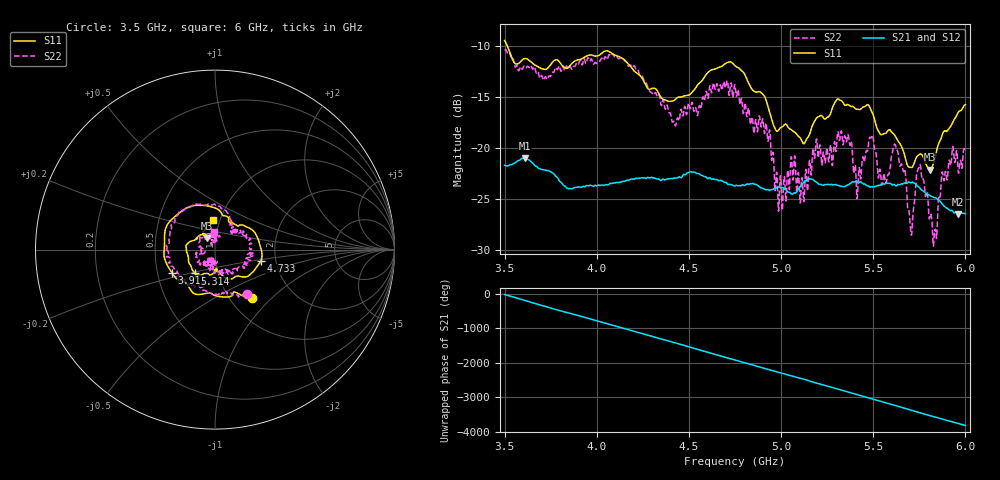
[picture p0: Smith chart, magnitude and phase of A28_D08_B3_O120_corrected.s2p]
! Created with skrf 1.9.0 (http://scikit-rf.org).
# Hz S RI R 50.0
!freq ReS11 ImS11 ReS21 ImS21 ReS12 ImS12 ReS22 ImS22
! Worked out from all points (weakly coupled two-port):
!   1601 points, 3.5 GHz to 6 GHz, reference 50 ohm
!   highest |S21| = -20.97 dB at 3.609 GHz (marker M1); lowest = -26.5 dB at 5.959 GHz (marker M2)
!   lowest |S11| = -22.1 dB at 5.806 GHz (marker M3), VSWR 1.17, Z = 45.2 + j5.67 ohm
!   |S11| at or under -10 dB: 3.515 GHz to end of sweep
!   |S22| runs from -29.6 to -10.3 dB; largest |S21 - S12| = 0.0011
!   S11 on the Smith chart (normalised r, x): 3.5 GHz: 1.26, -0.76; 3.911 GHz: 0.60, -0.17; 4.733 GHz: 1.66, -0.23; 5.314 GHz: 0.77, -0.21; 6 GHz: 0.93, +0.31
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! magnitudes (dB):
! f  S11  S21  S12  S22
! 3.5 GHz  -9.4  -21.7  -21.7  -10.4
! 3.609 GHz  -11.2  -21.0  -21.0  -12.0
! 3.911 GHz  -11.3  -23.8  -23.8  -11.4
! 3.917 GHz  -11.3  -23.9  -23.8  -11.7
! 4.334 GHz  -14.6  -23.0  -23.0  -14.8
! 4.733 GHz  -11.6  -23.6  -23.6  -14.1
! 4.75 GHz  -11.9  -23.7  -23.6  -13.8
! 4.928 GHz  -15.9  -24.1  -24.1  -19.3
! 4.995 GHz  -18.0  -23.9  -23.8  -22.8
! 5.167 GHz  -17.9  -23.1  -23.0  -21.7
! 5.314 GHz  -15.2  -23.7  -23.7  -19.0
! 5.419 GHz  -16.2  -23.4  -23.4  -23.1
! 5.489 GHz  -16.3  -23.8  -23.8  -19.0
! 5.584 GHz  -18.2  -23.5  -23.4  -22.6
! 5.623 GHz  -18.9  -23.7  -23.7  -19.9
! 5.705 GHz  -21.9  -23.4  -23.4  -28.4
! 5.75 GHz  -20.6  -23.9  -23.8  -21.9
! 5.806 GHz  -22.1  -24.7  -24.6  -26.8
! 5.834 GHz  -21.1  -24.9  -24.8  -28.0
! 5.88 GHz  -18.4  -25.6  -25.6  -22.8
! 5.959 GHz  -16.6  -26.5  -26.4  -21.8
! 6 GHz  -15.7  -26.4  -26.4  -20.4
